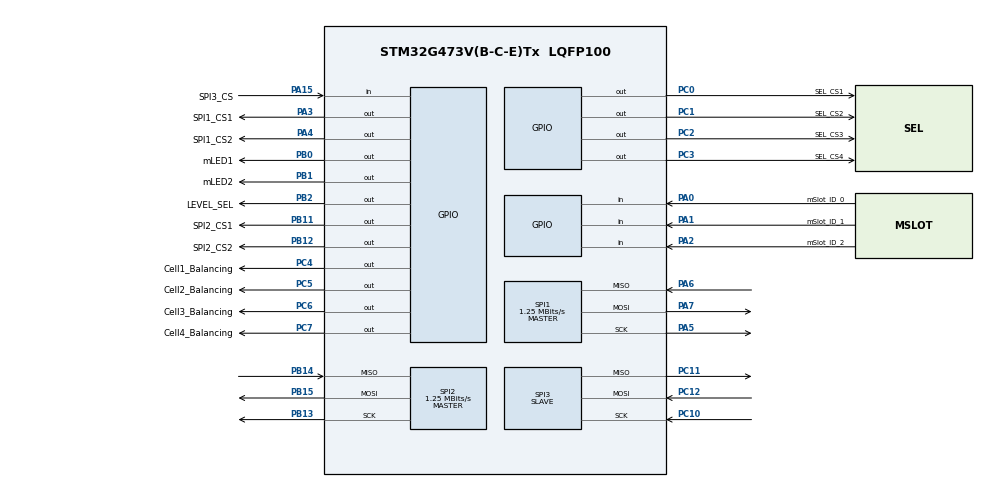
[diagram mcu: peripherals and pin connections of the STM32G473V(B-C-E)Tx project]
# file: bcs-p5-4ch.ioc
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IWDG.Prescaler=IWDG_PRESCALER_32
IWDG.Reload=3000
IWDG.Window=3000
Mcu.Family=STM32G4
Mcu.Name=STM32G473V(B-C-E)Tx
Mcu.Package=LQFP100
NVIC.PriorityGroup=NVIC_PRIORITYGROUP_4
NVIC.SPI1_IRQn=true\:1\:0\:true\:false\:true\:true\:true\:true
NVIC.SPI2_IRQn=true\:1\:0\:true\:false\:true\:true\:true\:true
NVIC.SPI3_IRQn=true\:2\:0\:true\:false\:true\:true\:true\:true
NVIC.TIM6_DAC_IRQn=true\:1\:0\:true\:false\:true\:true\:true\:true
NVIC.TIM7_DAC_IRQn=true\:1\:0\:true\:false\:true\:true\:true\:true
PA0.GPIO_Label=mSlot_ID_0
PA0.Signal=GPIO_Input
PA1.GPIO_Label=mSlot_ID_1
PA1.Signal=GPIO_Input
PA13.Mode=Trace_Asynchronous_SW
PA13.Signal=SYS_JTMS-SWDIO
PA14.Mode=Trace_Asynchronous_SW
PA14.Signal=SYS_JTCK-SWCLK
PA15.GPIO_Label=SPI3_CS
PA15.Signal=GPIO_Input
PA2.GPIO_Label=mSlot_ID_2
PA2.Signal=GPIO_Input
PA3.GPIO_Label=SPI1_CS1
PA3.Signal=GPIO_Output
PA4.GPIO_Label=SPI1_CS2
PA4.Signal=GPIO_Output
PA5.Mode=Full_Duplex_Master
PA5.Signal=SPI1_SCK
PA6.Mode=Full_Duplex_Master
PA6.Signal=SPI1_MISO
PA7.Mode=Full_Duplex_Master
PA7.Signal=SPI1_MOSI
PB0.GPIO_Label=mLED1
PB0.Signal=GPIO_Output
PB1.GPIO_Label=mLED2
PB1.Signal=GPIO_Output
PB11.GPIO_Label=SPI2_CS1
PB11.Signal=GPIO_Output
PB12.GPIO_Label=SPI2_CS2
PB12.Signal=GPIO_Output
PB13.Mode=Full_Duplex_Master
PB13.Signal=SPI2_SCK
PB14.Mode=Full_Duplex_Master
PB14.Signal=SPI2_MISO
PB15.Mode=Full_Duplex_Master
PB15.Signal=SPI2_MOSI
PB2.GPIO_Label=LEVEL_SEL
PB2.Signal=GPIO_Output
PB3.Mode=Trace_Asynchronous_SW
PB3.Signal=SYS_JTDO-SWO
PC0.GPIO_Label=SEL_CS1
PC0.Signal=GPIO_Output
PC1.GPIO_Label=SEL_CS2
PC1.Signal=GPIO_Output
PC10.Mode=Full_Duplex_Slave
PC10.Signal=SPI3_SCK
PC11.Mode=Full_Duplex_Slave
PC11.Signal=SPI3_MISO
PC12.Mode=Full_Duplex_Slave
PC12.Signal=SPI3_MOSI
PC2.GPIO_Label=SEL_CS3
PC2.Signal=GPIO_Output
PC3.GPIO_Label=SEL_CS4
PC3.Signal=GPIO_Output
PC4.GPIO_Label=Cell1_Balancing
PC4.Signal=GPIO_Output
PC5.GPIO_Label=Cell2_Balancing
PC5.Signal=GPIO_Output
PC6.GPIO_Label=Cell3_Balancing
PC6.Signal=GPIO_Output
PC7.GPIO_Label=Cell4_Balancing
PC7.Signal=GPIO_Output
PF0-OSC_IN.Mode=HSE-External-Oscillator
PF0-OSC_IN.Signal=RCC_OSC_IN
PF1-OSC_OUT.Mode=HSE-External-Oscillator
PF1-OSC_OUT.Signal=RCC_OSC_OUT
ProjectManager.HeapSize=0x200
ProjectManager.StackSize=0x400
ProjectManager.TargetToolchain=STM32CubeIDE
RCC.ADC12Freq_Value=160000000
RCC.ADC345Freq_Value=160000000
RCC.AHBFreq_Value=160000000
RCC.APB1Freq_Value=160000000
RCC.APB1TimFreq_Value=160000000
RCC.APB2Freq_Value=160000000
RCC.APB2TimFreq_Value=160000000
RCC.CortexFreq_Value=160000000
RCC.EXTERNAL_CLOCK_VALUE=12288000
RCC.HCLKFreq_Value=160000000
RCC.HSE_VALUE=8000000
RCC.HSI48_VALUE=48000000
RCC.HSI_VALUE=16000000
RCC.LSE_VALUE=32768
RCC.PLLN=40
RCC.PLLSourceVirtual=RCC_PLLSOURCE_HSE
RCC.SYSCLKFreq_VALUE=160000000
RCC.SYSCLKSource=RCC_SYSCLKSOURCE_PLLCLK
RCC.USBFreq_Value=160000000
RCC.VCOOutputFreq_Value=320000000
SPI1.BaudRatePrescaler=SPI_BAUDRATEPRESCALER_128
SPI1.CalculateBaudRate=1.25 MBits/s
SPI1.DataSize=SPI_DATASIZE_16BIT
SPI1.Direction=SPI_DIRECTION_2LINES
SPI1.Mode=SPI_MODE_MASTER
SPI1.VirtualType=VM_MASTER
SPI2.BaudRatePrescaler=SPI_BAUDRATEPRESCALER_128
SPI2.CalculateBaudRate=1.25 MBits/s
SPI2.DataSize=SPI_DATASIZE_16BIT
SPI2.Direction=SPI_DIRECTION_2LINES
SPI2.Mode=SPI_MODE_MASTER
SPI2.VirtualType=VM_MASTER
SPI3.CRCCalculation=SPI_CRCCALCULATION_DISABLE
SPI3.DataSize=SPI_DATASIZE_8BIT
SPI3.Direction=SPI_DIRECTION_2LINES
SPI3.Mode=SPI_MODE_SLAVE
SPI3.VirtualType=VM_SLAVE
TIM6.Prescaler=15
TIM6.TIM_MasterOutputTrigger=TIM_TRGO_UPDATE
TIM7.PeriodNoDither=999
TIM7.Prescaler=15
TIM7.TIM_MasterOutputTrigger=TIM_TRGO_UPDATE
VP_IWDG_VS_IWDG.Mode=IWDG_Activate
VP_SYS_VS_DBSignals.Mode=DisableDeadBatterySignals
VP_TIM6_VS_ClockSourceINT.Mode=Enable_Timer
VP_TIM7_VS_ClockSourceINT.Mode=Enable_Timer
board=custom

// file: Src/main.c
/* USER CODE BEGIN Header */
/**
  ******************************************************************************
  * @file           : main.c
  * @brief          : Main program body
  ******************************************************************************
  * @attention
  *
  * Copyright (c) 2022 STMicroelectronics.
  * All rights reserved.
  *
  * This software is licensed under terms that can be found in the LICENSE file
  * in the root directory of this software component.
  * If no LICENSE file comes with this software, it is provided AS-IS.
  *
  ******************************************************************************
  */
/* USER CODE END Header */
#include <string.h>

#include "main.h"
#include "stm32g4xx_it.h"
#include "app.h"
#include "cell.h"

/* USER CODE BEGIN Includes */
void Host_CRC_Check(void);
uint16_t crc16_update(uint16_t, uint8_t);

/* USER CODE END Includes */

/* USER CODE BEGIN PV */
/* Buffer used for transmission */
bool newDataFlag = false;

uint8_t aTxBuffer[11] = {0};
uint8_t recvData[20];

/* USER CODE END PV */

void SystemClock_Config(void);
static void MX_GPIO_Init(void);
static void MX_IWDG_Init(void);
static void MX_SPI1_Init(void);
static void MX_SPI2_Init(void);
static void MX_SPI3_Init(void);
static void MX_TIM6_Init(void);
static void MX_TIM7_Init(void);

void LED_Blinking(uint32_t Period);

void runState(void) {
	static uint16_t start = 0;
	static bool led = false;
	uint16_t curr = tick_cnt;
	if (curr - start < 1000) return;
	start = curr;

	led = !led;

	if (led == false){MAIN_yLED2_OFF();}
	else{MAIN_yLED2_ON();}
}

int main(void)
{

  /* MCU Configuration--------------------------------------------------------*/

  /* Reset of all peripherals, Initializes the Flash interface and the Systick. */
  LL_APB2_GRP1_EnableClock(LL_APB2_GRP1_PERIPH_SYSCFG);
  LL_APB1_GRP1_EnableClock(LL_APB1_GRP1_PERIPH_PWR);
  /* System interrupt init*/

  NVIC_SetPriorityGrouping(NVIC_PRIORITYGROUP_4);

  /** Disable the internal Pull-Up in Dead Battery pins of UCPD peripheral
  */
  LL_PWR_DisableUCPDDeadBattery();

  /* Configure the system clock */
  SystemClock_Config();

  /* Initialize all configured peripherals */
  MX_GPIO_Init();
  MX_IWDG_Init();
  MX_SPI1_Init();
  MX_SPI2_Init();
  MX_SPI3_Init();
  MX_TIM6_Init();
  MX_TIM7_Init();
  /* USER CODE BEGIN 2 */

  LL_SYSTICK_EnableIT();	// SysTick_Handler enable

  LL_mDelay(1000);		// Part Stabilization delay

  LL_SPI_Enable(SPI3);

  app_init();

  /* USER CODE END 2 */

  /* Infinite loop */
  while (1)
  {
	  hostToSendDataSet();
	  if(LL_GPIO_IsInputPinSet(SPI3_CS_GPIO_Port,SPI3_CS_Pin)){ rbuffer_count=0; }
	  if(crc_check_flag){Host_CRC_Check();}
	  if(newDataFlag) {commandProcessing();}

	  currentLimitControl();
	  balancingLedControl();

//	  runState();

	  LL_IWDG_ReloadCounter(IWDG);

  }
}

void SystemClock_Config(void)
{
  LL_FLASH_SetLatency(LL_FLASH_LATENCY_4);
  while(LL_FLASH_GetLatency() != LL_FLASH_LATENCY_4)
  {
  }
  LL_PWR_EnableRange1BoostMode();
  LL_RCC_HSE_Enable();
   /* Wait till HSE is ready */
  while(LL_RCC_HSE_IsReady() != 1)
  {
  }

  LL_RCC_LSI_Enable();
   /* Wait till LSI is ready */
  while(LL_RCC_LSI_IsReady() != 1)
  {
  }

  LL_RCC_PLL_ConfigDomain_SYS(LL_RCC_PLLSOURCE_HSE, LL_RCC_PLLM_DIV_1, 40, LL_RCC_PLLR_DIV_2);
  LL_RCC_PLL_EnableDomain_SYS();
  LL_RCC_PLL_Enable();
   /* Wait till PLL is ready */
  while(LL_RCC_PLL_IsReady() != 1)
  {
  }

  LL_RCC_SetSysClkSource(LL_RCC_SYS_CLKSOURCE_PLL);
  LL_RCC_SetAHBPrescaler(LL_RCC_SYSCLK_DIV_2);
   /* Wait till System clock is ready */
  while(LL_RCC_GetSysClkSource() != LL_RCC_SYS_CLKSOURCE_STATUS_PLL)
  {
  }

  /* Insure 1?s transition state at intermediate medium speed clock based on DWT */
  CoreDebug->DEMCR |= CoreDebug_DEMCR_TRCENA_Msk;
  DWT->CTRL |= DWT_CTRL_CYCCNTENA_Msk;
  DWT->CYCCNT = 0;
  while(DWT->CYCCNT < 100);
  /* Set AHB prescaler*/
  LL_RCC_SetAHBPrescaler(LL_RCC_SYSCLK_DIV_1);
  LL_RCC_SetAPB1Prescaler(LL_RCC_APB1_DIV_1);
  LL_RCC_SetAPB2Prescaler(LL_RCC_APB2_DIV_1);

  LL_Init1msTick(160000000);

  LL_SetSystemCoreClock(160000000);

}

static void MX_IWDG_Init(void)
{

  LL_IWDG_Enable(IWDG);
  LL_IWDG_EnableWriteAccess(IWDG);
  LL_IWDG_SetPrescaler(IWDG, LL_IWDG_PRESCALER_32);
  LL_IWDG_SetReloadCounter(IWDG, 3000);
  while (LL_IWDG_IsReady(IWDG) != 1)
  {
  }

  LL_IWDG_SetWindow(IWDG, 3000);

}

static void MX_SPI1_Init(void)
{

  LL_SPI_InitTypeDef SPI_InitStruct = {0};

  LL_GPIO_InitTypeDef GPIO_InitStruct = {0};

  /* Peripheral clock enable */
  LL_APB2_GRP1_EnableClock(LL_APB2_GRP1_PERIPH_SPI1);

  LL_AHB2_GRP1_EnableClock(LL_AHB2_GRP1_PERIPH_GPIOA);
  /**SPI1 GPIO Configuration
  PA5   ------> SPI1_SCK
  PA6   ------> SPI1_MISO
  PA7   ------> SPI1_MOSI
  */
  GPIO_InitStruct.Pin = LL_GPIO_PIN_5;
  GPIO_InitStruct.Mode = LL_GPIO_MODE_ALTERNATE;
  GPIO_InitStruct.Speed = LL_GPIO_SPEED_FREQ_LOW;
  GPIO_InitStruct.OutputType = LL_GPIO_OUTPUT_PUSHPULL;
  GPIO_InitStruct.Pull = LL_GPIO_PULL_NO;
  GPIO_InitStruct.Alternate = LL_GPIO_AF_5;
  LL_GPIO_Init(GPIOA, &GPIO_InitStruct);

  GPIO_InitStruct.Pin = LL_GPIO_PIN_6;
  GPIO_InitStruct.Mode = LL_GPIO_MODE_ALTERNATE;
  GPIO_InitStruct.Speed = LL_GPIO_SPEED_FREQ_LOW;
  GPIO_InitStruct.OutputType = LL_GPIO_OUTPUT_PUSHPULL;
  GPIO_InitStruct.Pull = LL_GPIO_PULL_NO;
  GPIO_InitStruct.Alternate = LL_GPIO_AF_5;
  LL_GPIO_Init(GPIOA, &GPIO_InitStruct);

  GPIO_InitStruct.Pin = LL_GPIO_PIN_7;
  GPIO_InitStruct.Mode = LL_GPIO_MODE_ALTERNATE;
  GPIO_InitStruct.Speed = LL_GPIO_SPEED_FREQ_LOW;
  GPIO_InitStruct.OutputType = LL_GPIO_OUTPUT_PUSHPULL;
  GPIO_InitStruct.Pull = LL_GPIO_PULL_NO;
  GPIO_InitStruct.Alternate = LL_GPIO_AF_5;
  LL_GPIO_Init(GPIOA, &GPIO_InitStruct);

  /* SPI1 interrupt Init */
  NVIC_SetPriority(SPI1_IRQn, NVIC_EncodePriority(NVIC_GetPriorityGrouping(),1, 0));
  NVIC_EnableIRQ(SPI1_IRQn);

  /* SPI1 parameter configuration*/
  SPI_InitStruct.TransferDirection = LL_SPI_FULL_DUPLEX;
  SPI_InitStruct.Mode = LL_SPI_MODE_MASTER;
  SPI_InitStruct.DataWidth = LL_SPI_DATAWIDTH_16BIT;
  SPI_InitStruct.ClockPolarity = LL_SPI_POLARITY_LOW;
  SPI_InitStruct.ClockPhase = LL_SPI_PHASE_1EDGE;
  SPI_InitStruct.NSS = LL_SPI_NSS_SOFT;
//  SPI_InitStruct.BaudRate = LL_SPI_BAUDRATEPRESCALER_DIV32;
  SPI_InitStruct.BaudRate = LL_SPI_BAUDRATEPRESCALER_DIV64;
//  SPI_InitStruct.BaudRate = LL_SPI_BAUDRATEPRESCALER_DIV128;

  SPI_InitStruct.BitOrder = LL_SPI_MSB_FIRST;
  SPI_InitStruct.CRCCalculation = LL_SPI_CRCCALCULATION_DISABLE;
  SPI_InitStruct.CRCPoly = 7;
  LL_SPI_Init(SPI1, &SPI_InitStruct);
  LL_SPI_SetStandard(SPI1, LL_SPI_PROTOCOL_MOTOROLA);
  LL_SPI_EnableNSSPulseMgt(SPI1);

}

static void MX_SPI2_Init(void)
{

  LL_SPI_InitTypeDef SPI_InitStruct = {0};

  LL_GPIO_InitTypeDef GPIO_InitStruct = {0};

  /* Peripheral clock enable */
  LL_APB1_GRP1_EnableClock(LL_APB1_GRP1_PERIPH_SPI2);

  LL_AHB2_GRP1_EnableClock(LL_AHB2_GRP1_PERIPH_GPIOB);
  /**SPI2 GPIO Configuration
  PB13   ------> SPI2_SCK
  PB14   ------> SPI2_MISO
  PB15   ------> SPI2_MOSI
  */
  GPIO_InitStruct.Pin = LL_GPIO_PIN_13;
  GPIO_InitStruct.Mode = LL_GPIO_MODE_ALTERNATE;
  GPIO_InitStruct.Speed = LL_GPIO_SPEED_FREQ_LOW;
  GPIO_InitStruct.OutputType = LL_GPIO_OUTPUT_PUSHPULL;
  GPIO_InitStruct.Pull = LL_GPIO_PULL_NO;
  GPIO_InitStruct.Alternate = LL_GPIO_AF_5;
  LL_GPIO_Init(GPIOB, &GPIO_InitStruct);

  GPIO_InitStruct.Pin = LL_GPIO_PIN_14;
  GPIO_InitStruct.Mode = LL_GPIO_MODE_ALTERNATE;
  GPIO_InitStruct.Speed = LL_GPIO_SPEED_FREQ_LOW;
  GPIO_InitStruct.OutputType = LL_GPIO_OUTPUT_PUSHPULL;
  GPIO_InitStruct.Pull = LL_GPIO_PULL_NO;
  GPIO_InitStruct.Alternate = LL_GPIO_AF_5;
  LL_GPIO_Init(GPIOB, &GPIO_InitStruct);

  GPIO_InitStruct.Pin = LL_GPIO_PIN_15;
  GPIO_InitStruct.Mode = LL_GPIO_MODE_ALTERNATE;
  GPIO_InitStruct.Speed = LL_GPIO_SPEED_FREQ_LOW;
  GPIO_InitStruct.OutputType = LL_GPIO_OUTPUT_PUSHPULL;
  GPIO_InitStruct.Pull = LL_GPIO_PULL_NO;
  GPIO_InitStruct.Alternate = LL_GPIO_AF_5;
  LL_GPIO_Init(GPIOB, &GPIO_InitStruct);

  /* SPI2 interrupt Init */
  NVIC_SetPriority(SPI2_IRQn, NVIC_EncodePriority(NVIC_GetPriorityGrouping(),1, 0));
  NVIC_EnableIRQ(SPI2_IRQn);

  /* SPI2 parameter configuration*/
  SPI_InitStruct.TransferDirection = LL_SPI_FULL_DUPLEX;
  SPI_InitStruct.Mode = LL_SPI_MODE_MASTER;
  SPI_InitStruct.DataWidth = LL_SPI_DATAWIDTH_16BIT;
  SPI_InitStruct.ClockPolarity = LL_SPI_POLARITY_LOW;
  SPI_InitStruct.ClockPhase = LL_SPI_PHASE_1EDGE;
  SPI_InitStruct.NSS = LL_SPI_NSS_SOFT;
//  SPI_InitStruct.BaudRate = LL_SPI_BAUDRATEPRESCALER_DIV32;
  SPI_InitStruct.BaudRate = LL_SPI_BAUDRATEPRESCALER_DIV64;
//  SPI_InitStruct.BaudRate = LL_SPI_BAUDRATEPRESCALER_DIV128;

  SPI_InitStruct.BitOrder = LL_SPI_MSB_FIRST;
  SPI_InitStruct.CRCCalculation = LL_SPI_CRCCALCULATION_DISABLE;
  SPI_InitStruct.CRCPoly = 7;
  LL_SPI_Init(SPI2, &SPI_InitStruct);
  LL_SPI_SetStandard(SPI2, LL_SPI_PROTOCOL_MOTOROLA);
  LL_SPI_EnableNSSPulseMgt(SPI2);

}

static void MX_SPI3_Init(void)
{

  LL_SPI_InitTypeDef SPI_InitStruct = {0};

  LL_GPIO_InitTypeDef GPIO_InitStruct = {0};

  /* Peripheral clock enable */
  LL_APB1_GRP1_EnableClock(LL_APB1_GRP1_PERIPH_SPI3);

  LL_AHB2_GRP1_EnableClock(LL_AHB2_GRP1_PERIPH_GPIOC);
  /**SPI3 GPIO Configuration
  PC10   ------> SPI3_SCK
  PC11   ------> SPI3_MISO
  PC12   ------> SPI3_MOSI
  */
  GPIO_InitStruct.Pin = LL_GPIO_PIN_10;
  GPIO_InitStruct.Mode = LL_GPIO_MODE_ALTERNATE;
  GPIO_InitStruct.Speed = LL_GPIO_SPEED_FREQ_LOW;
  GPIO_InitStruct.OutputType = LL_GPIO_OUTPUT_PUSHPULL;
  GPIO_InitStruct.Pull = LL_GPIO_PULL_NO;
  GPIO_InitStruct.Alternate = LL_GPIO_AF_6;
  LL_GPIO_Init(GPIOC, &GPIO_InitStruct);

  GPIO_InitStruct.Pin = LL_GPIO_PIN_11;
  GPIO_InitStruct.Mode = LL_GPIO_MODE_ALTERNATE;
  GPIO_InitStruct.Speed = LL_GPIO_SPEED_FREQ_LOW;
  GPIO_InitStruct.OutputType = LL_GPIO_OUTPUT_PUSHPULL;
  GPIO_InitStruct.Pull = LL_GPIO_PULL_NO;
  GPIO_InitStruct.Alternate = LL_GPIO_AF_6;
  LL_GPIO_Init(GPIOC, &GPIO_InitStruct);

  GPIO_InitStruct.Pin = LL_GPIO_PIN_12;
  GPIO_InitStruct.Mode = LL_GPIO_MODE_ALTERNATE;
  GPIO_InitStruct.Speed = LL_GPIO_SPEED_FREQ_LOW;
  GPIO_InitStruct.OutputType = LL_GPIO_OUTPUT_PUSHPULL;
  GPIO_InitStruct.Pull = LL_GPIO_PULL_NO;
  GPIO_InitStruct.Alternate = LL_GPIO_AF_6;
  LL_GPIO_Init(GPIOC, &GPIO_InitStruct);

  /* SPI3 interrupt Init */
  NVIC_SetPriority(SPI3_IRQn, NVIC_EncodePriority(NVIC_GetPriorityGrouping(),2, 0));
  NVIC_EnableIRQ(SPI3_IRQn);

  /* SPI3 parameter configuration*/
  SPI_InitStruct.TransferDirection = LL_SPI_FULL_DUPLEX;
  SPI_InitStruct.Mode = LL_SPI_MODE_SLAVE;
  SPI_InitStruct.DataWidth = LL_SPI_DATAWIDTH_8BIT;
  SPI_InitStruct.ClockPolarity = LL_SPI_POLARITY_LOW;
  SPI_InitStruct.ClockPhase = LL_SPI_PHASE_1EDGE;
//  SPI_InitStruct.ClockPhase = LL_SPI_PHASE_2EDGE;

  SPI_InitStruct.NSS = LL_SPI_NSS_SOFT;
//  SPI_InitStruct.NSS = LL_SPI_NSS_HARD_INPUT;
  SPI_InitStruct.BitOrder = LL_SPI_MSB_FIRST;
  SPI_InitStruct.CRCCalculation = LL_SPI_CRCCALCULATION_DISABLE;
  SPI_InitStruct.CRCPoly = 7;
  LL_SPI_Init(SPI3, &SPI_InitStruct);
  LL_SPI_SetStandard(SPI3, LL_SPI_PROTOCOL_MOTOROLA);
  LL_SPI_DisableNSSPulseMgt(SPI3);

}

static void MX_TIM6_Init(void)
{

  LL_TIM_InitTypeDef TIM_InitStruct = {0};

  /* Peripheral clock enable */
  LL_APB1_GRP1_EnableClock(LL_APB1_GRP1_PERIPH_TIM6);

  /* TIM6 interrupt Init */
  NVIC_SetPriority(TIM6_DAC_IRQn, NVIC_EncodePriority(NVIC_GetPriorityGrouping(),1, 0));
  NVIC_EnableIRQ(TIM6_DAC_IRQn);

  TIM_InitStruct.Prescaler = 15;
  TIM_InitStruct.CounterMode = LL_TIM_COUNTERMODE_UP;
  TIM_InitStruct.Autoreload = 65535;
  LL_TIM_Init(TIM6, &TIM_InitStruct);
  LL_TIM_DisableARRPreload(TIM6);
  LL_TIM_SetTriggerOutput(TIM6, LL_TIM_TRGO_UPDATE);
  LL_TIM_DisableMasterSlaveMode(TIM6);

}

static void MX_TIM7_Init(void)
{

  LL_TIM_InitTypeDef TIM_InitStruct = {0};

  /* Peripheral clock enable */
  LL_APB1_GRP1_EnableClock(LL_APB1_GRP1_PERIPH_TIM7);

  /* TIM7 interrupt Init */
  NVIC_SetPriority(TIM7_DAC_IRQn, NVIC_EncodePriority(NVIC_GetPriorityGrouping(),1, 0));
  NVIC_EnableIRQ(TIM7_DAC_IRQn);

  TIM_InitStruct.Prescaler = 15;
  TIM_InitStruct.CounterMode = LL_TIM_COUNTERMODE_UP;
  TIM_InitStruct.Autoreload = 499;
  LL_TIM_Init(TIM7, &TIM_InitStruct);
  LL_TIM_DisableARRPreload(TIM7);
  LL_TIM_SetTriggerOutput(TIM7, LL_TIM_TRGO_UPDATE);
  LL_TIM_DisableMasterSlaveMode(TIM7);

}

static void MX_GPIO_Init(void)
{
  LL_GPIO_InitTypeDef GPIO_InitStruct = {0};

  /* GPIO Ports Clock Enable */
  LL_AHB2_GRP1_EnableClock(LL_AHB2_GRP1_PERIPH_GPIOF);
  LL_AHB2_GRP1_EnableClock(LL_AHB2_GRP1_PERIPH_GPIOC);
  LL_AHB2_GRP1_EnableClock(LL_AHB2_GRP1_PERIPH_GPIOA);
  LL_AHB2_GRP1_EnableClock(LL_AHB2_GRP1_PERIPH_GPIOB);

  /**/
  LL_GPIO_ResetOutputPin(SEL_CS1_GPIO_Port, SEL_CS1_Pin);

  /**/
  LL_GPIO_SetOutputPin(SEL_CS2_GPIO_Port, SEL_CS2_Pin);		// high

  /**/
  LL_GPIO_ResetOutputPin(SEL_CS3_GPIO_Port, SEL_CS3_Pin);

  /**/
  LL_GPIO_SetOutputPin(SEL_CS4_GPIO_Port, SEL_CS4_Pin);		// high

  /**/
  LL_GPIO_SetOutputPin(SPI1_CS1_GPIO_Port, SPI1_CS1_Pin);	// high

  /**/
  LL_GPIO_SetOutputPin(SPI1_CS2_GPIO_Port, SPI1_CS2_Pin);	// high

  /**/
  LL_GPIO_ResetOutputPin(Cell1_Balancing_GPIO_Port, Cell1_Balancing_Pin);

  /**/
  LL_GPIO_ResetOutputPin(Cell2_Balancing_GPIO_Port, Cell2_Balancing_Pin);

  /**/
  LL_GPIO_ResetOutputPin(mLED1_GPIO_Port, mLED1_Pin);

  /**/
  LL_GPIO_ResetOutputPin(mLED2_GPIO_Port, mLED2_Pin);

  /**/
  LL_GPIO_ResetOutputPin(LEVEL_SEL_GPIO_Port, LEVEL_SEL_Pin);

  /**/
  LL_GPIO_SetOutputPin(SPI2_CS1_GPIO_Port, SPI2_CS1_Pin);	// high

  /**/
  LL_GPIO_SetOutputPin(SPI2_CS2_GPIO_Port, SPI2_CS2_Pin);	// high

  /**/
  LL_GPIO_ResetOutputPin(Cell3_Balancing_GPIO_Port, Cell3_Balancing_Pin);

  /**/
  LL_GPIO_ResetOutputPin(Cell4_Balancing_GPIO_Port, Cell4_Balancing_Pin);

  /**/
  GPIO_InitStruct.Pin = SEL_CS1_Pin;
  GPIO_InitStruct.Mode = LL_GPIO_MODE_OUTPUT;
  GPIO_InitStruct.Speed = LL_GPIO_SPEED_FREQ_LOW;
  GPIO_InitStruct.OutputType = LL_GPIO_OUTPUT_PUSHPULL;
  GPIO_InitStruct.Pull = LL_GPIO_PULL_NO;
  LL_GPIO_Init(SEL_CS1_GPIO_Port, &GPIO_InitStruct);

  /**/
  GPIO_InitStruct.Pin = SEL_CS2_Pin;
  GPIO_InitStruct.Mode = LL_GPIO_MODE_OUTPUT;
  GPIO_InitStruct.Speed = LL_GPIO_SPEED_FREQ_LOW;
  GPIO_InitStruct.OutputType = LL_GPIO_OUTPUT_PUSHPULL;
  GPIO_InitStruct.Pull = LL_GPIO_PULL_NO;
  LL_GPIO_Init(SEL_CS2_GPIO_Port, &GPIO_InitStruct);

  /**/
  GPIO_InitStruct.Pin = SEL_CS3_Pin;
  GPIO_InitStruct.Mode = LL_GPIO_MODE_OUTPUT;
  GPIO_InitStruct.Speed = LL_GPIO_SPEED_FREQ_LOW;
  GPIO_InitStruct.OutputType = LL_GPIO_OUTPUT_PUSHPULL;
  GPIO_InitStruct.Pull = LL_GPIO_PULL_NO;
  LL_GPIO_Init(SEL_CS3_GPIO_Port, &GPIO_InitStruct);

  /**/
  GPIO_InitStruct.Pin = SEL_CS4_Pin;
  GPIO_InitStruct.Mode = LL_GPIO_MODE_OUTPUT;
  GPIO_InitStruct.Speed = LL_GPIO_SPEED_FREQ_LOW;
  GPIO_InitStruct.OutputType = LL_GPIO_OUTPUT_PUSHPULL;
  GPIO_InitStruct.Pull = LL_GPIO_PULL_NO;
  LL_GPIO_Init(SEL_CS4_GPIO_Port, &GPIO_InitStruct);

  /**/
  GPIO_InitStruct.Pin = mSlot_ID_0_Pin;
  GPIO_InitStruct.Mode = LL_GPIO_MODE_INPUT;
  GPIO_InitStruct.Pull = LL_GPIO_PULL_NO;
  LL_GPIO_Init(mSlot_ID_0_GPIO_Port, &GPIO_InitStruct);

  /**/
  GPIO_InitStruct.Pin = mSlot_ID_1_Pin;
  GPIO_InitStruct.Mode = LL_GPIO_MODE_INPUT;
  GPIO_InitStruct.Pull = LL_GPIO_PULL_NO;
  LL_GPIO_Init(mSlot_ID_1_GPIO_Port, &GPIO_InitStruct);

  /**/
  GPIO_InitStruct.Pin = mSlot_ID_2_Pin;
  GPIO_InitStruct.Mode = LL_GPIO_MODE_INPUT;
  GPIO_InitStruct.Pull = LL_GPIO_PULL_NO;
  LL_GPIO_Init(mSlot_ID_2_GPIO_Port, &GPIO_InitStruct);

  /**/
  GPIO_InitStruct.Pin = SPI1_CS1_Pin;
  GPIO_InitStruct.Mode = LL_GPIO_MODE_OUTPUT;
  GPIO_InitStruct.Speed = LL_GPIO_SPEED_FREQ_LOW;
  GPIO_InitStruct.OutputType = LL_GPIO_OUTPUT_PUSHPULL;
  GPIO_InitStruct.Pull = LL_GPIO_PULL_NO;
  LL_GPIO_Init(SPI1_CS1_GPIO_Port, &GPIO_InitStruct);

  /**/
  GPIO_InitStruct.Pin = SPI1_CS2_Pin;
  GPIO_InitStruct.Mode = LL_GPIO_MODE_OUTPUT;
  GPIO_InitStruct.Speed = LL_GPIO_SPEED_FREQ_LOW;
  GPIO_InitStruct.OutputType = LL_GPIO_OUTPUT_PUSHPULL;
  GPIO_InitStruct.Pull = LL_GPIO_PULL_NO;
  LL_GPIO_Init(SPI1_CS2_GPIO_Port, &GPIO_InitStruct);

  /**/
  GPIO_InitStruct.Pin = Cell1_Balancing_Pin;
  GPIO_InitStruct.Mode = LL_GPIO_MODE_OUTPUT;
  GPIO_InitStruct.Speed = LL_GPIO_SPEED_FREQ_LOW;
  GPIO_InitStruct.OutputType = LL_GPIO_OUTPUT_PUSHPULL;
  GPIO_InitStruct.Pull = LL_GPIO_PULL_NO;
  LL_GPIO_Init(Cell1_Balancing_GPIO_Port, &GPIO_InitStruct);

  /**/
  GPIO_InitStruct.Pin = Cell2_Balancing_Pin;
  GPIO_InitStruct.Mode = LL_GPIO_MODE_OUTPUT;
  GPIO_InitStruct.Speed = LL_GPIO_SPEED_FREQ_LOW;
  GPIO_InitStruct.OutputType = LL_GPIO_OUTPUT_PUSHPULL;
  GPIO_InitStruct.Pull = LL_GPIO_PULL_NO;
  LL_GPIO_Init(Cell2_Balancing_GPIO_Port, &GPIO_InitStruct);

  /**/
  GPIO_InitStruct.Pin = mLED1_Pin;
  GPIO_InitStruct.Mode = LL_GPIO_MODE_OUTPUT;
  GPIO_InitStruct.Speed = LL_GPIO_SPEED_FREQ_LOW;
  GPIO_InitStruct.OutputType = LL_GPIO_OUTPUT_PUSHPULL;
  GPIO_InitStruct.Pull = LL_GPIO_PULL_NO;
  LL_GPIO_Init(mLED1_GPIO_Port, &GPIO_InitStruct);

  /**/
  GPIO_InitStruct.Pin = mLED2_Pin;
  GPIO_InitStruct.Mode = LL_GPIO_MODE_OUTPUT;
  GPIO_InitStruct.Speed = LL_GPIO_SPEED_FREQ_LOW;
  GPIO_InitStruct.OutputType = LL_GPIO_OUTPUT_PUSHPULL;
  GPIO_InitStruct.Pull = LL_GPIO_PULL_NO;
  LL_GPIO_Init(mLED2_GPIO_Port, &GPIO_InitStruct);

  /**/
  GPIO_InitStruct.Pin = LEVEL_SEL_Pin;
  GPIO_InitStruct.Mode = LL_GPIO_MODE_OUTPUT;
  GPIO_InitStruct.Speed = LL_GPIO_SPEED_FREQ_LOW;
  GPIO_InitStruct.OutputType = LL_GPIO_OUTPUT_PUSHPULL;
  GPIO_InitStruct.Pull = LL_GPIO_PULL_NO;
  LL_GPIO_Init(LEVEL_SEL_GPIO_Port, &GPIO_InitStruct);

  /**/
  GPIO_InitStruct.Pin = SPI2_CS1_Pin;
  GPIO_InitStruct.Mode = LL_GPIO_MODE_OUTPUT;
  GPIO_InitStruct.Speed = LL_GPIO_SPEED_FREQ_LOW;
  GPIO_InitStruct.OutputType = LL_GPIO_OUTPUT_PUSHPULL;
  GPIO_InitStruct.Pull = LL_GPIO_PULL_NO;
  LL_GPIO_Init(SPI2_CS1_GPIO_Port, &GPIO_InitStruct);

  /**/
  GPIO_InitStruct.Pin = SPI2_CS2_Pin;
  GPIO_InitStruct.Mode = LL_GPIO_MODE_OUTPUT;
  GPIO_InitStruct.Speed = LL_GPIO_SPEED_FREQ_LOW;
  GPIO_InitStruct.OutputType = LL_GPIO_OUTPUT_PUSHPULL;
  GPIO_InitStruct.Pull = LL_GPIO_PULL_NO;
  LL_GPIO_Init(SPI2_CS2_GPIO_Port, &GPIO_InitStruct);

  /**/
  GPIO_InitStruct.Pin = Cell3_Balancing_Pin;
  GPIO_InitStruct.Mode = LL_GPIO_MODE_OUTPUT;
  GPIO_InitStruct.Speed = LL_GPIO_SPEED_FREQ_LOW;
  GPIO_InitStruct.OutputType = LL_GPIO_OUTPUT_PUSHPULL;
  GPIO_InitStruct.Pull = LL_GPIO_PULL_NO;
  LL_GPIO_Init(Cell3_Balancing_GPIO_Port, &GPIO_InitStruct);

  /**/
  GPIO_InitStruct.Pin = Cell4_Balancing_Pin;
  GPIO_InitStruct.Mode = LL_GPIO_MODE_OUTPUT;
  GPIO_InitStruct.Speed = LL_GPIO_SPEED_FREQ_LOW;
  GPIO_InitStruct.OutputType = LL_GPIO_OUTPUT_PUSHPULL;
  GPIO_InitStruct.Pull = LL_GPIO_PULL_NO;
  LL_GPIO_Init(Cell4_Balancing_GPIO_Port, &GPIO_InitStruct);

  /**/
  GPIO_InitStruct.Pin = SPI3_CS_Pin;
  GPIO_InitStruct.Mode = LL_GPIO_MODE_INPUT;
  GPIO_InitStruct.Pull = LL_GPIO_PULL_NO;
  LL_GPIO_Init(SPI3_CS_GPIO_Port, &GPIO_InitStruct);

}

/* USER CODE BEGIN 4 */

uint16_t crc16_update(uint16_t crc, uint8_t a) {
	uint8_t i;

	crc ^= a;
	for (i = 0; i < 8; i++) {
		if (crc & 1) crc = (crc >> 1) ^ 0xA001;
		else crc = (crc >> 1);
	}

	return crc;
}

void Host_CRC_Check(void){
	 crc_check_flag = false;

	 uint16_t crc = 0xffff;
	 uint8_t i;
	 for (i = 0; i < 8; i++) {
		 crc = crc16_update(crc, rbuffer_data[i+1]);
	 }

	 uint16_t recvCrc = ((uint16_t)rbuffer_data[10]) | ((uint16_t)rbuffer_data[9] << 8);

	 if (recvCrc != crc) {
		 rbuffer_count=0;
		 return;
	 }

	 memcpy(recvData,rbuffer_data,11);

	 newDataFlag=true;

}

/* USER CODE END 4 */

void Error_Handler(void)
{
  __disable_irq();
  while (1)
  {
  }
}
//
//#ifdef  USE_FULL_ASSERT
///**
//  * @brief  Reports the name of the source file and the source line number
//  *         where the assert_param error has occurred.
//  * @param  file: pointer to the source file name
//  * @param  line: assert_param error line source number
//  * @retval None
//  */
//void assert_failed(uint8_t *file, uint32_t line)
//{
//  /* USER CODE BEGIN 6 */
//  /* User can add his own implementation to report the file name and line number,
//     ex: printf("Wrong parameters value: file %s on line %d\r\n", file, line) */
//  /* USER CODE END 6 */
//}
//#endif /* USE_FULL_ASSERT */
